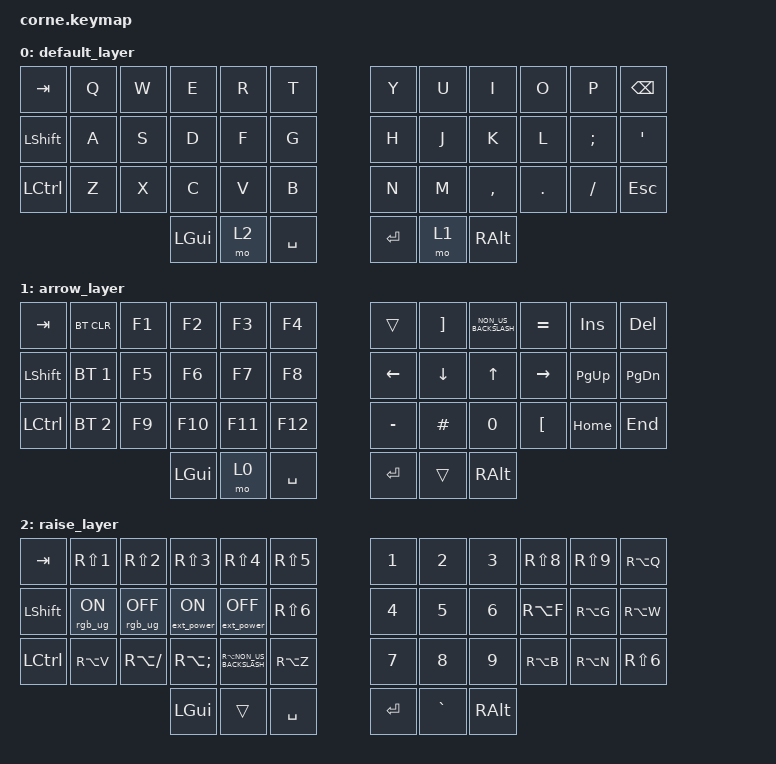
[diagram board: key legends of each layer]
#include <behaviors.dtsi>
#include <dt-bindings/zmk/bt.h>
#include <dt-bindings/zmk/keys.h>
#include <dt-bindings/zmk/rgb.h>
#include <dt-bindings/zmk/ext_power.h>

/ {
    keymap {
        compatible = "zmk,keymap";

        default_layer {
            // -----------------------------------------------------------------------------------------
            // |  TAB |  Q  |  W  |  E  |  R  |  T  |   |  Y  |  U   |  I  |  O  |  P  | BKSP |
            // | SHFT |  A  |  S  |  D  |  F  |  G  |   |  H  |  J   |  K  |  L  |  ;  |  '   |
            // | LCTRL |  Z  |  X  |  C  |  V  |  B  |   |  N  |  M   |  ,  |  .  |  /  | ESC  |
            //                    | GUI | LWR | SPC |   | ENT | RSE  | ALT |

            bindings = <
&kp TAB         &kp Q  &kp W  &kp E     &kp R  &kp T        &kp Y    &kp U  &kp I          &kp O    &kp P     &kp BSPC
&kp LEFT_SHIFT  &kp A  &kp S  &kp D     &kp F  &kp G        &kp H    &kp J  &kp K          &kp L    &kp SEMI  &kp SQT
&kp LCTRL       &kp Z  &kp X  &kp C     &kp V  &kp B        &kp N    &kp M  &kp COMMA      &kp DOT  &kp FSLH  &kp ESC
                              &kp LGUI  &mo 2  &kp SPACE    &kp RET  &mo 1  &kp RIGHT_ALT
            >;
        };

        arrow_layer {
            // -----------------------------------------------------------------------------------------
            // |  TAB |  1  |  2  |  3  |  4  |  5  |   |  6  |  7  |  8  |  9  |  0  | BKSP |
            // | BTCLR| BT1 | BT2 | BT3 | BT4 | BT5 |   | LFT | DWN |  UP | RGT | PAGE_DOWN | PG_UP |
            // | SHFT |     |     |     |     |     |   |     |     |     |     |     |      |
            //                    | GUI |     | SPC |   | ENT |     | ALT |

            bindings = <
&kp TAB         &bt BT_CLR    &kp F1  &kp F2    &kp F3   &kp F4       &trans     &kp RIGHT_BRACKET  &kp NON_US_BACKSLASH  &kp EQUAL         &kp INSERT  &kp DELETE
&kp LEFT_SHIFT  &bt BT_SEL 1  &kp F5  &kp F6    &kp F7   &kp F8       &kp LEFT   &kp DOWN           &kp UP                &kp RIGHT         &kp PG_UP   &kp PAGE_DOWN
&kp LCTRL       &bt BT_SEL 2  &kp F9  &kp F10   &kp F11  &kp F12      &kp MINUS  &kp POUND          &kp N0                &kp LEFT_BRACKET  &kp HOME    &kp END
                                      &kp LGUI  &mo 0    &kp SPACE    &kp RET    &trans             &kp RALT
            >;
        };

        raise_layer {
            // -----------------------------------------------------------------------------------------
            // |  TAB |  !  |  @  |  #  |  $  |  %  |   |  ^  |  &  |  *  |  (  |  )  | BKSP |
            // | CTRL |     |     |     |     |     |   |  -  |  =  |  [  |  ]  |  \  |  `   |
            // | SHFT |     |     |     |     |     |   |  _  |  +  |  {  |  }  | "|" |  ~   |
            //                    | GUI |     | SPC |   | ENT |     | ALT |

            bindings = <
&kp TAB           &kp RS(NUMBER_1)  &kp RS(NUMBER_2)  &kp RS(NUMBER_3)          &kp RS(N4)                &kp RS(N5)    &kp N1     &kp N2     &kp N3    &kp RS(N8)  &kp RS(N9)  &kp RA(Q)
&kp LEFT_SHIFT    &rgb_ug RGB_ON    &rgb_ug RGB_OFF   &ext_power EP_ON          &ext_power EP_OFF         &kp RS(N6)    &kp N4     &kp N5     &kp N6    &kp RA(F)   &kp RA(G)   &kp RA(W)
&kp LEFT_CONTROL  &kp RA(V)         &kp RA(SLASH)     &kp RA(SEMICOLON)         &kp RA(NON_US_BACKSLASH)  &kp RA(Z)     &kp N7     &kp N8     &kp N9    &kp RA(B)   &kp RA(N)   &kp RS(NUMBER_6)
                                                      &kp LGUI                  &trans                    &kp SPACE     &kp ENTER  &kp GRAVE  &kp RALT
            >;
        };

    };
};

&led_strip {
    chain-length = <27>; // Adjust this based on the number of LEDs
};

/*
&oled {
    compatible = "ssd1306";
    width = <128>;
    height = <32>;
    segment-offset = <0>;
    page-offset = <0>;
    display-offset = <0>;
    multiplex-ratio = <31>;
    precharge-period = <0x22>;
    com-pin-config = <0x12>;
    vcomh-deselect-level = <0x20>;
    com-scan-direction = <0>;
    segment-remap = <1>;
    address-width = <7>;
    address-height = <7>;
    address-mode = <0>;
    reset-gpios = <&gpio0 10 GPIO_ACTIVE_LOW>;
    i2c-bus = <&i2c0>;
    label = "SSD1306";
};
*/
